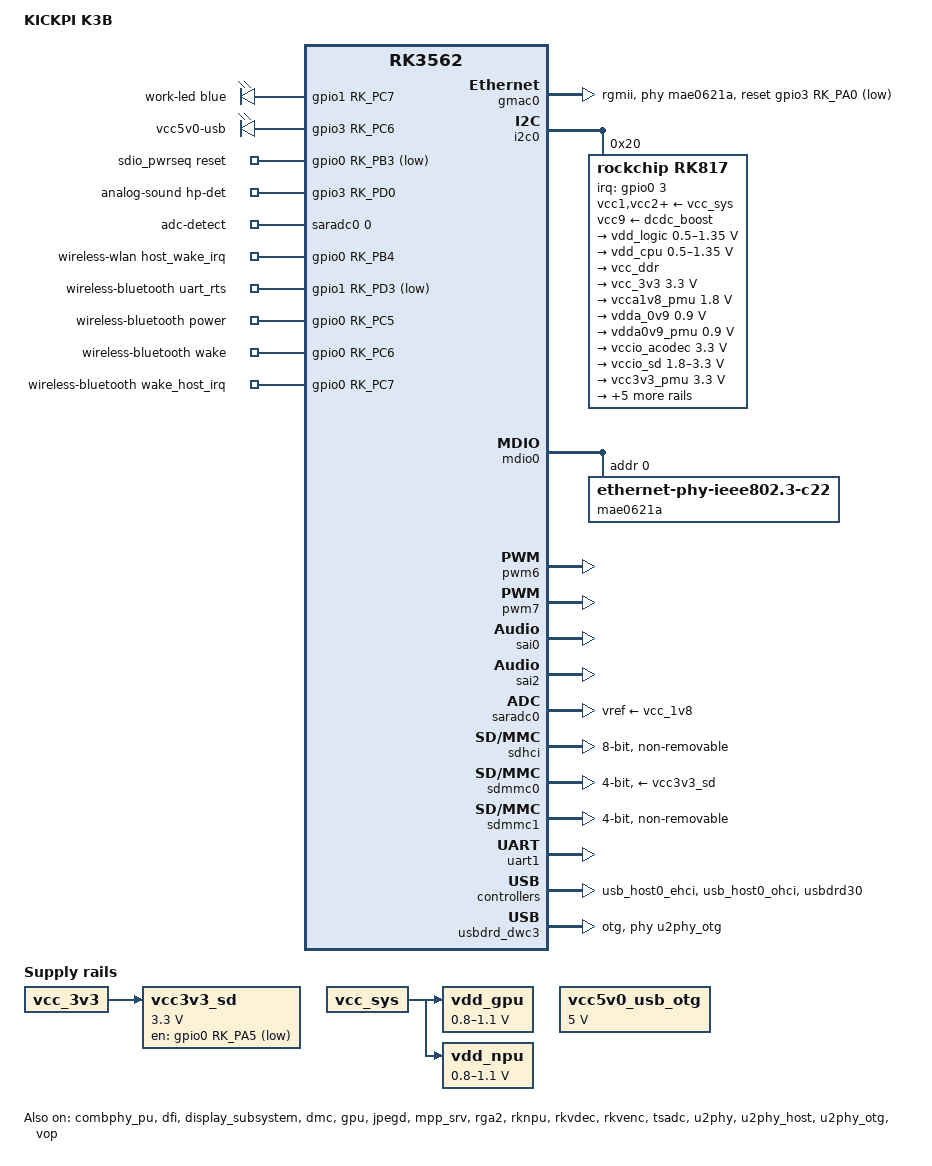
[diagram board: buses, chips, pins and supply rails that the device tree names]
// SPDX-License-Identifier: (GPL-2.0+ OR MIT)
/*
 * Copyright (c) 2022 Fuzhou Rockchip Electronics Co., Ltd.
 * Copyright (c) 2026 retro98boy <retro98boy@qq.com>
 */

/dts-v1/;

#include <dt-bindings/gpio/gpio.h>
#include <dt-bindings/input/input.h>
#include <dt-bindings/leds/common.h>
#include <dt-bindings/pinctrl/rockchip.h>
#include "rk3562.dtsi"
/*
 * Include configurations for the Linux system.
 * Replace this with rk3562-android.dtsi to
 * adapt this DTS for the Android system.
 */
#include "rk3562-linux.dtsi"

#define USE_PANFROST

/ {
	model = "KICKPI K3B";
	compatible = "kickpi,k3b", "rockchip,rk3562";

	gpio-leds {
		compatible = "gpio-leds";

		work-led {
			color = <LED_COLOR_ID_BLUE>;
			linux,default-trigger = "heartbeat";
			function = LED_FUNCTION_HEARTBEAT;
			gpios = <&gpio1 RK_PC7 GPIO_ACTIVE_HIGH>;
			pinctrl-names = "default";
			pinctrl-0 = <&work_led_pin>;
		};

		/*
		 * The KICKPI K3B has a hardware quirk:
		 * if the battery functionality is enabled in software
		 * but no physical battery is connected,
		 * powering the device via Type-C will cause it to hang
		 * during the boot process.
		 * To workaround this issue, KICKPI introduces a 10-second
		 * delay before enabling the USB Type-A power supply.
		 * Note that the initial-on-delay-ms property requires
		 * a specific kernel patch to be supported.
		 */
		vcc5v0-usb {
			label = "vcc5v0-usb";
			default-state = "on";
			initial-on-delay-ms = <10000>;
			gpios = <&gpio3 RK_PC6 GPIO_ACTIVE_HIGH>;
			pinctrl-names = "default";
			pinctrl-0 = <&vcc5v0_usb_pin>;
		};
	};

	sdio_pwrseq: sdio-pwrseq {
		compatible = "mmc-pwrseq-simple";
		clocks = <&rk817 1>;
		clock-names = "ext_clock";
		pinctrl-names = "default";
		pinctrl-0 = <&wifi_enable_h>;
		post-power-on-delay-ms = <200>;
		reset-gpios = <&gpio0 RK_PB3 GPIO_ACTIVE_LOW>;
	};

	test-power {
		status = "okay";
	};

	analog-sound {
		compatible = "rockchip,multicodecs-card";
		rockchip,card-name = "kickpi-k3b";
		hp-det-gpio = <&gpio3 RK_PD0 GPIO_ACTIVE_HIGH>;
		rockchip,format = "i2s";
		rockchip,mclk-fs = <256>;
		rockchip,cpu = <&sai0>;
		rockchip,codec = <&rk817_codec>;
		pinctrl-names = "default";
		pinctrl-0 = <&hp_det_pin>;
		io-channels = <&saradc0 0>;
		io-channel-names = "adc-detect";
		keyup-threshold-microvolt = <1800000>;

		play-pause-key {
			label = "playpause";
			linux,code = <KEY_PLAYPAUSE>;
			press-threshold-microvolt = <2000>;
		};
	};

	vcc_sys: regulator-vcc-sys {
		compatible = "regulator-fixed";
		regulator-name = "vcc_sys";
		regulator-always-on;
		regulator-boot-on;
	};

	vcc5v0_usb_otg: regulator-vcc5v0-usb-otg {
		compatible = "regulator-fixed";
		regulator-name = "vcc5v0_usb_otg";
		regulator-min-microvolt = <5000000>;
		regulator-max-microvolt = <5000000>;
	};

	vcc3v3_sd: regulator-vcc3v3-sd {
		compatible = "regulator-fixed";
		regulator-name = "vcc3v3_sd";
		regulator-boot-on;
		regulator-min-microvolt = <3300000>;
		regulator-max-microvolt = <3300000>;
		enable-active-low;
		gpio = <&gpio0 RK_PA5 GPIO_ACTIVE_LOW>;
		pinctrl-names = "default";
		pinctrl-0 = <&vcc3v3_sd_pin>;
		vin-supply = <&vcc_3v3>;
	};

	vdd_gpu: regulator-vdd-gpu {
		compatible = "pwm-regulator";
		pwms = <&pwm7 0 5000 1>;
		regulator-name = "vdd_gpu";
		regulator-min-microvolt = <800000>;
		regulator-max-microvolt = <1100000>;
		regulator-init-microvolt = <900000>;
		regulator-always-on;
		regulator-boot-on;
		regulator-settling-time-up-us = <250>;
		pwm-supply = <&vcc_sys>;
	};

	vdd_npu: regulator-vdd-npu {
		compatible = "pwm-regulator";
		pwms = <&pwm6 0 5000 1>;
		regulator-name = "vdd_npu";
		regulator-min-microvolt = <800000>;
		regulator-max-microvolt = <1100000>;
		regulator-init-microvolt = <900000>;
		regulator-always-on;
		regulator-boot-on;
		regulator-settling-time-up-us = <250>;
		pwm-supply = <&vcc_sys>;
	};

	wireless-wlan {
		compatible = "wlan-platdata";
		rockchip,grf = <&sys_grf>;
		wifi_chip_type = "rtl8822cs"; /* Not care */
		/* WIFI,poweren_gpio = <&gpio0 RK_PB3 GPIO_ACTIVE_HIGH>; */
		WIFI,host_wake_irq = <&gpio0 RK_PB4 GPIO_ACTIVE_HIGH>;
		pinctrl-names = "default";
		pinctrl-0 = <&wifi_host_wake_irq>;
	};

	wireless-bluetooth {
		compatible = "bluetooth-platdata";
		clocks = <&rk817 1>;
		clock-names = "ext_clock";
		uart_rts_gpios = <&gpio1 RK_PD3 GPIO_ACTIVE_LOW>;
		pinctrl-names = "default", "rts_gpio";
		pinctrl-0 = <&uart1m0_rtsn>;
		pinctrl-1 = <&uart1_gpios>;
		BT,power_gpio = <&gpio0 RK_PC5 GPIO_ACTIVE_HIGH>;
		BT,wake_gpio = <&gpio0 RK_PC6 GPIO_ACTIVE_HIGH>;
		BT,wake_host_irq = <&gpio0 RK_PC7 GPIO_ACTIVE_HIGH>;
	};

	bt_sco: bt-sco {
		compatible = "delta,dfbmcs320";
		#sound-dai-cells = <1>;
	};

	bt-sound {
		compatible = "simple-audio-card";
		simple-audio-card,format = "dsp_a";
		simple-audio-card,bitclock-inversion = <0>;
		simple-audio-card,mclk-fs = <256>;
		simple-audio-card,name = "rockchip,bt";

		simple-audio-card,cpu {
			sound-dai = <&sai2>;
		};

		simple-audio-card,codec {
			sound-dai = <&bt_sco 1>;
		};
	};
};

&chosen {
	/* Override incompatible settings from rk3562-linux.dtsi */
	bootargs = "earlycon=uart8250,mmio32,0xff210000 console=ttyFIQ0";
};

&combphy_pu {
	status = "okay";
};

&cpu0 {
	cpu-supply = <&vdd_cpu>;
};

&dfi {
	status = "okay";
};

&display_subsystem {
	status = "okay";
};

&dmc {
	center-supply = <&vdd_logic>;
	status = "okay";
};

&gmac0 {
	phy-handle = <&mae0621a>;
	phy-mode = "rgmii";
	clock_in_out = "output";
	tx_delay = <0x47>;
	rx_delay = <0x3f>;

	snps,reset-gpio = <&gpio3 RK_PA0 GPIO_ACTIVE_LOW>;
	snps,reset-active-low;
	snps,reset-delays-us = <0 20000 100000>;

	pinctrl-names = "default";
	pinctrl-0 = <&rgmiim0_miim
		&rgmiim0_tx_bus2
		&rgmiim0_rx_bus2
		&rgmiim0_rgmii_clk
		&rgmiim0_rgmii_bus>;

	status = "okay";
};

&gpu {
#ifdef USE_PANFROST
	interrupt-names = "gpu", "mmu", "job";
#endif
	mali-supply = <&vdd_gpu>;
	status = "okay";
};

#ifdef USE_PANFROST
&gpu_opp_table {
	opp-300000000 {
		/delete-property/ opp-supported-hw;
	};

	opp-400000000 {
		/delete-property/ opp-supported-hw;
	};

	opp-500000000 {
		/delete-property/ opp-supported-hw;
	};

	opp-600000000 {
		/delete-property/ opp-supported-hw;
	};

	opp-700000000 {
		/delete-property/ opp-supported-hw;
	};

	opp-800000000 {
		/delete-property/ opp-supported-hw;
	};

	opp-900000000 {
		/delete-property/ opp-supported-hw;
	};
};
#endif

&i2c0 {
	status = "okay";

	rk817: pmic@20 {
		compatible = "rockchip,rk817";
		reg = <0x20>;
		interrupt-parent = <&gpio0>;
		interrupts = <3 IRQ_TYPE_LEVEL_LOW>;
		pinctrl-names = "default", "pmic-sleep",
			"pmic-power-off", "pmic-reset";
		pinctrl-0 = <&pmic_int>;
		pinctrl-1 = <&soc_slppin_slp>, <&rk817_slppin_slp>;
		pinctrl-2 = <&soc_slppin_gpio>, <&rk817_slppin_pwrdn>;
		pinctrl-3 = <&soc_slppin_gpio>, <&rk817_slppin_rst>;
		rockchip,system-power-controller;
		wakeup-source;
		#clock-cells = <1>;
		clock-output-names = "rk808-clkout1", "rk808-clkout2";
		pmic-reset-func = <0>;
		vcc1-supply = <&vcc_sys>;
		vcc2-supply = <&vcc_sys>;
		vcc3-supply = <&vcc_sys>;
		vcc4-supply = <&vcc_sys>;
		vcc5-supply = <&vcc_sys>;
		vcc6-supply = <&vcc_sys>;
		vcc7-supply = <&vcc_sys>;
		vcc8-supply = <&vcc_sys>;
		vcc9-supply = <&dcdc_boost>;

		pwrkey {
			status = "okay";
		};

		pinctrl_rk8xx: pinctrl_rk8xx {
			gpio-controller;
			#gpio-cells = <2>;

			rk817_slppin_null: rk817_slppin_null {
				pins = "gpio_slp";
				function = "pin_fun0";
			};

			rk817_slppin_slp: rk817_slppin_slp {
				pins = "gpio_slp";
				function = "pin_fun1";
			};

			rk817_slppin_pwrdn: rk817_slppin_pwrdn {
				pins = "gpio_slp";
				function = "pin_fun2";
			};

			rk817_slppin_rst: rk817_slppin_rst {
				pins = "gpio_slp";
				function = "pin_fun3";
			};
		};

		regulators {
			vdd_logic: DCDC_REG1 {
				regulator-always-on;
				regulator-boot-on;
				regulator-min-microvolt = <500000>;
				regulator-max-microvolt = <1350000>;
				regulator-init-microvolt = <900000>;
				regulator-ramp-delay = <6001>;
				regulator-initial-mode = <0x2>;
				regulator-name = "vdd_logic";

				regulator-state-mem {
					regulator-off-in-suspend;
					regulator-suspend-microvolt = <900000>;
				};
			};

			vdd_cpu: DCDC_REG2 {
				regulator-always-on;
				regulator-boot-on;
				regulator-min-microvolt = <500000>;
				regulator-max-microvolt = <1350000>;
				regulator-init-microvolt = <900000>;
				regulator-ramp-delay = <6001>;
				regulator-initial-mode = <0x2>;
				regulator-name = "vdd_cpu";

				regulator-state-mem {
					regulator-off-in-suspend;
				};
			};

			vcc_ddr: DCDC_REG3 {
				regulator-always-on;
				regulator-boot-on;
				regulator-initial-mode = <0x2>;
				regulator-name = "vcc_ddr";

				regulator-state-mem {
					regulator-on-in-suspend;
				};
			};

			vcc_3v3: DCDC_REG4 {
				regulator-always-on;
				regulator-boot-on;
				regulator-min-microvolt = <3300000>;
				regulator-max-microvolt = <3300000>;
				regulator-initial-mode = <0x2>;
				regulator-name = "vcc_3v3";

				regulator-state-mem {
					regulator-on-in-suspend;
					regulator-suspend-microvolt = <3300000>;
				};
			};

			vcca1v8_pmu: LDO_REG1 {
				regulator-always-on;
				regulator-boot-on;
				regulator-min-microvolt = <1800000>;
				regulator-max-microvolt = <1800000>;
				regulator-name = "vcca1v8_pmu";

				regulator-state-mem {
					regulator-on-in-suspend;
					regulator-suspend-microvolt = <1800000>;
				};
			};

			vdda_0v9: LDO_REG2 {
				regulator-always-on;
				regulator-boot-on;
				regulator-min-microvolt = <900000>;
				regulator-max-microvolt = <900000>;
				regulator-name = "vdda_0v9";

				regulator-state-mem {
					regulator-off-in-suspend;
				};
			};

			vdda0v9_pmu: LDO_REG3 {
				regulator-always-on;
				regulator-boot-on;
				regulator-min-microvolt = <900000>;
				regulator-max-microvolt = <900000>;
				regulator-name = "vdda0v9_pmu";

				regulator-state-mem {
					regulator-on-in-suspend;
					regulator-suspend-microvolt = <900000>;
				};
			};

			vccio_acodec: LDO_REG4 {
				regulator-always-on;
				regulator-boot-on;
				regulator-min-microvolt = <3300000>;
				regulator-max-microvolt = <3300000>;
				regulator-name = "vccio_acodec";

				regulator-state-mem {
					regulator-off-in-suspend;
				};
			};

			vccio_sd: LDO_REG5 {
				regulator-always-on;
				regulator-boot-on;
				regulator-min-microvolt = <1800000>;
				regulator-max-microvolt = <3300000>;
				regulator-name = "vccio_sd";

				regulator-state-mem {
					regulator-off-in-suspend;
				};
			};

			vcc3v3_pmu: LDO_REG6 {
				regulator-always-on;
				regulator-boot-on;
				regulator-min-microvolt = <3300000>;
				regulator-max-microvolt = <3300000>;
				regulator-name = "vcc3v3_pmu";

				regulator-state-mem {
					regulator-on-in-suspend;
					regulator-suspend-microvolt = <3000000>;
				};
			};

			vcc_1v8: LDO_REG7 {
				regulator-always-on;
				regulator-boot-on;
				regulator-min-microvolt = <1800000>;
				regulator-max-microvolt = <1800000>;
				regulator-name = "vcc_1v8";

				regulator-state-mem {
					regulator-off-in-suspend;
				};
			};

			vcc1v8_dvp: LDO_REG8 {
				regulator-min-microvolt = <1800000>;
				regulator-max-microvolt = <1800000>;
				regulator-name = "vcc1v8_dvp";

				regulator-state-mem {
					regulator-off-in-suspend;
				};
			};

			vcc2v8_dvp: LDO_REG9 {
				regulator-min-microvolt = <2800000>;
				regulator-max-microvolt = <2800000>;
				regulator-name = "vcc2v8_dvp";

				regulator-state-mem {
					regulator-off-in-suspend;
				};
			};

			dcdc_boost: BOOST {
				regulator-always-on;
				regulator-boot-on;
				regulator-min-microvolt = <4700000>;
				regulator-max-microvolt = <5400000>;
				regulator-name = "boost";

				regulator-state-mem {
					regulator-off-in-suspend;
				};
			};

			otg_switch: OTG_SWITCH {
				regulator-name = "otg_switch";

				regulator-state-mem {
					regulator-off-in-suspend;
				};
			};
		};

		rk817_codec: codec {
			#sound-dai-cells = <0>;
			compatible = "rockchip,rk817-codec";
			clocks = <&mclkout_sai0>;
			clock-names = "mclk";
			assigned-clocks = <&mclkout_sai0>;
			assigned-clock-rates = <12288000>;
			pinctrl-names = "default";
			pinctrl-0 = <&i2s0m0_mclk>;
			hp-volume = <3>;
			spk-volume = <3>;
			mic-in-differential;
		};

		battery {
			compatible = "rk817,battery";
			ocv_table = <3400 3573 3620 3662 3691 3713 3735
				3760 3791 3830 3878 3923 3958 3986
				4014 4051 4094 4126 4153 4191 4204>;
			design_capacity = <5000>;
			design_qmax = <5000>;
			bat_res = <100>;
			sleep_enter_current = <300>;
			sleep_exit_current = <300>;
			sleep_filter_current = <100>;
			power_off_thresd = <3400>;
			zero_algorithm_vol = <3850>;
			max_soc_offset = <60>;
			monitor_sec = <5>;
			sample_res = <10>;
			virtual_power = <1>;
		};

		charger {
			compatible = "rk817,charger";
			min_input_voltage = <4000>;
			max_input_current = <3000>;
			max_chrg_current = <3500>;
			max_chrg_voltage = <4350>;
			chrg_term_mode = <0>;
			chrg_finish_cur = <300>;
			virtual_power = <0>;
			dc_det_adc = <0>;
			extcon = <&u2phy>;
			gate_function_disable = <1>;
		};
	};
};

&jpegd {
	status = "okay";
};

&jpegd_mmu {
	status = "okay";
};

&mdio0 {
	mae0621a: ethernet-phy@0 {
		compatible = "ethernet-phy-ieee802.3-c22";
		reg = <0x0>;
		clocks = <&cru CLK_GMAC_ETH_OUT2IO>;
		assigned-clocks = <&cru CLK_GMAC_ETH_OUT2IO>;
		assigned-clock-rates = <25000000>;
	};
};

&mpp_srv {
	status = "okay";
};

&pinctrl {
	led {
		work_led_pin: work-led-pin {
			rockchip,pins = <1 RK_PC7 RK_FUNC_GPIO &pcfg_pull_none>;
		};

		vcc5v0_usb_pin: vcc5v0-usb-pin {
			rockchip,pins = <3 RK_PC6 RK_FUNC_GPIO &pcfg_pull_none>;
		};
	};

	sdmmc {
		vcc3v3_sd_pin: vcc3v3-sd-pin {
			rockchip,pins = <0 RK_PA5 RK_FUNC_GPIO &pcfg_pull_none>;
		};
	};

	sound {
		hp_det_pin: hp-det-pin {
			rockchip,pins = <3 RK_PD0 RK_FUNC_GPIO &pcfg_pull_none>;
		};
	};

	wireless-wlan {
		wifi_enable_h: wifi-enable-h {
			rockchip,pins = <0 RK_PB3 RK_FUNC_GPIO &pcfg_pull_up>;
		};

		wifi_host_wake_irq: wifi-host-wake-irq {
			rockchip,pins = <0 RK_PB4 RK_FUNC_GPIO &pcfg_pull_down>;
		};
	};

	wireless-bluetooth {
		uart1_gpios: uart1-gpios {
			rockchip,pins = <1 RK_PD3 RK_FUNC_GPIO &pcfg_pull_none>;
		};
	};
};

&pwm6 {
	status = "okay";
};

&pwm7 {
	status = "okay";
};

&rga2 {
	status = "okay";
};

&rga2_mmu {
	status = "okay";
};

&rknpu {
	rknpu-supply = <&vdd_npu>;
	status = "okay";
};

&rknpu_mmu {
	status = "okay";
};

&rkvdec {
	status = "okay";
};

&rkvdec_mmu {
	status = "okay";
};

&rkvenc {
	status = "okay";
};

&rkvenc_mmu {
	status = "okay";
};

&sai0 {
	status = "okay";
	pinctrl-names = "default";
	pinctrl-0 = <&i2s0m0_lrck
		&i2s0m0_sclk
		&i2s0m0_sdi0
		&i2s0m0_sdo0>;
};

&sai2 {
	status = "okay";
	pinctrl-names = "default";
	pinctrl-0 = <&i2s2m0_lrck
		&i2s2m0_sclk
		&i2s2m0_sdi
		&i2s2m0_sdo>;
};

&saradc0 {
	status = "okay";
	vref-supply = <&vcc_1v8>;
};

&sdhci {
	bus-width = <8>;
	no-sdio;
	no-sd;
	non-removable;
	mmc-hs400-1_8v;
	mmc-hs400-enhanced-strobe;
	full-pwr-cycle-in-suspend;
	status = "okay";
};

&sdmmc0 {
	no-sdio;
	no-mmc;
	bus-width = <4>;
	cap-mmc-highspeed;
	cap-sd-highspeed;
	supports-sd;
	disable-wp;
	sd-uhs-sdr104;
	vmmc-supply = <&vcc3v3_sd>;
	vqmmc-supply = <&vccio_sd>;
	pinctrl-names = "default";
	pinctrl-0 = <&sdmmc0_bus4 &sdmmc0_clk &sdmmc0_cmd &sdmmc0_det>;
	status = "okay";
};

&sdmmc1 {
	no-sd;
	no-mmc;
	bus-width = <4>;
	disable-wp;
	cap-sd-highspeed;
	cap-sdio-irq;
	keep-power-in-suspend;
	mmc-pwrseq = <&sdio_pwrseq>;
	non-removable;
	pinctrl-names = "default";
	pinctrl-0 = <&sdmmc1_bus4 &sdmmc1_cmd &sdmmc1_clk>;
	sd-uhs-sdr104;
	status = "okay";
};

&tsadc {
	status = "okay";
};

&uart1 {
	status = "okay";
	pinctrl-names = "default";
	pinctrl-0 = <&uart1m0_xfer &uart1m0_ctsn>;
};

&u2phy {
	status = "okay";
};

&u2phy_host {
	status = "okay";
};

&u2phy_otg {
	status = "okay";
	vbus-supply = <&vcc5v0_usb_otg>;
};

&usb_host0_ehci {
	status = "okay";
};

&usb_host0_ohci {
	status = "okay";
};

&usbdrd30 {
	status = "okay";
};

&usbdrd_dwc3 {
	status = "okay";
	dr_mode = "otg";
	extcon = <&u2phy>;
	maximum-speed = "high-speed";
	phys = <&u2phy_otg>;
	phy-names = "usb2-phy";
	snps,dis_u2_susphy_quirk;
	snps,usb2-lpm-disable;
};

&vop {
	status = "okay";
};

&vop_mmu {
	status = "okay";
};
